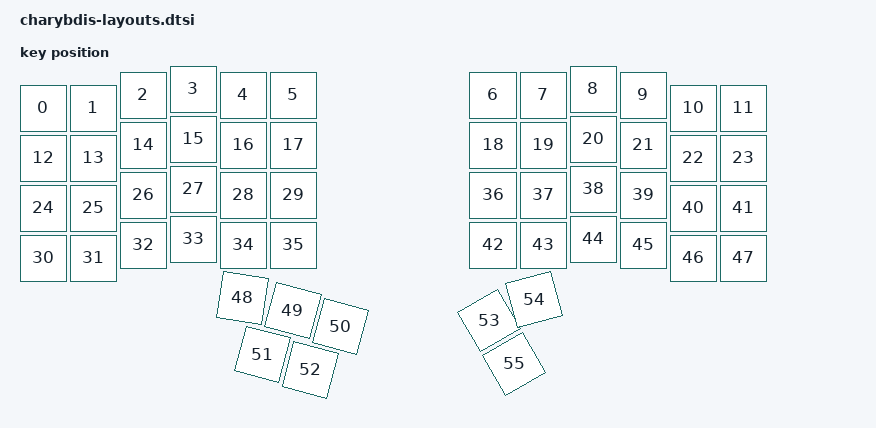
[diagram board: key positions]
#include <physical_layouts.dtsi>

/ {
    charybdis_physical_layout: charybdis_physical_layout {
        compatible = "zmk,physical-layout";
        display-name = "Charybdis 5x6";

        kscan = <&kscan0>;
        transform = <&default_transform>;

        keys
            // Left Half - Main Keys
            //                       w   h    x    y     rot    rx    ry
            = <&key_physical_attrs 100 100    0   38       0     0     0>
            , <&key_physical_attrs 100 100  100   38       0     0     0>
            , <&key_physical_attrs 100 100  200   12       0     0     0>
            , <&key_physical_attrs 100 100  300    0       0     0     0>
            , <&key_physical_attrs 100 100  400   12       0     0     0>
            , <&key_physical_attrs 100 100  500   12       0     0     0>
            , <&key_physical_attrs 100 100  900   12       0     0     0>
            , <&key_physical_attrs 100 100 1000   12       0     0     0>
            , <&key_physical_attrs 100 100 1100    0       0     0     0>
            , <&key_physical_attrs 100 100 1200   12       0     0     0>
            , <&key_physical_attrs 100 100 1300   38       0     0     0>
            , <&key_physical_attrs 100 100 1400   38       0     0     0>
            , <&key_physical_attrs 100 100    0  138       0     0     0>
            , <&key_physical_attrs 100 100  100  138       0     0     0>
            , <&key_physical_attrs 100 100  200  112       0     0     0>
            , <&key_physical_attrs 100 100  300  100       0     0     0>
            , <&key_physical_attrs 100 100  400  112       0     0     0>
            , <&key_physical_attrs 100 100  500  112       0     0     0>
            , <&key_physical_attrs 100 100  900  112       0     0     0>
            , <&key_physical_attrs 100 100 1000  112       0     0     0>
            , <&key_physical_attrs 100 100 1100  100       0     0     0>
            , <&key_physical_attrs 100 100 1200  112       0     0     0>
            , <&key_physical_attrs 100 100 1300  138       0     0     0>
            , <&key_physical_attrs 100 100 1400  138       0     0     0>
            , <&key_physical_attrs 100 100    0  238       0     0     0>
            , <&key_physical_attrs 100 100  100  238       0     0     0>
            , <&key_physical_attrs 100 100  200  212       0     0     0>
            , <&key_physical_attrs 100 100  300  200       0     0     0>
            , <&key_physical_attrs 100 100  400  212       0     0     0>
            , <&key_physical_attrs 100 100  500  212       0     0     0>
            , <&key_physical_attrs 100 100    0  338       0     0     0>
            , <&key_physical_attrs 100 100  100  338       0     0     0>
            , <&key_physical_attrs 100 100  200  312       0     0     0>
            , <&key_physical_attrs 100 100  300  300       0     0     0>
            , <&key_physical_attrs 100 100  400  312       0     0     0>
            , <&key_physical_attrs 100 100  500  312       0     0     0>
            , <&key_physical_attrs 100 100  900  212       0     0     0>
            , <&key_physical_attrs 100 100 1000  212       0     0     0>
            , <&key_physical_attrs 100 100 1100  200       0     0     0>
            , <&key_physical_attrs 100 100 1200  212       0     0     0>
            , <&key_physical_attrs 100 100 1300  238       0     0     0>
            , <&key_physical_attrs 100 100 1400  238       0     0     0>
            , <&key_physical_attrs 100 100  900  312       0     0     0>
            , <&key_physical_attrs 100 100 1000  312       0     0     0>
            , <&key_physical_attrs 100 100 1100  300       0     0     0>
            , <&key_physical_attrs 100 100 1200  312       0     0     0>
            , <&key_physical_attrs 100 100 1300  338       0     0     0>
            , <&key_physical_attrs 100 100 1400  338       0     0     0>

            // Thumb Clusters
            //                       w   h    x    y     rot    rx    ry
            , <&key_physical_attrs 100 100  348  414    900    398   790>
            , <&key_physical_attrs 100 100  418  414    1500   398   790>
            , <&key_physical_attrs 100 100  518  420    1500   398   790>
            , <&key_physical_attrs 100 100  382  514    1500   398   790>
            , <&key_physical_attrs 100 100  482  520    1500   398   790>
            , <&key_physical_attrs 100 100 1052  420 (-3000)  1102   790>
            , <&key_physical_attrs 100 100 1067  414 (-1500)  1102   790>
            , <&key_physical_attrs 100 100 1052  520 (-3000)  1102   790>
            ;
    };
};
